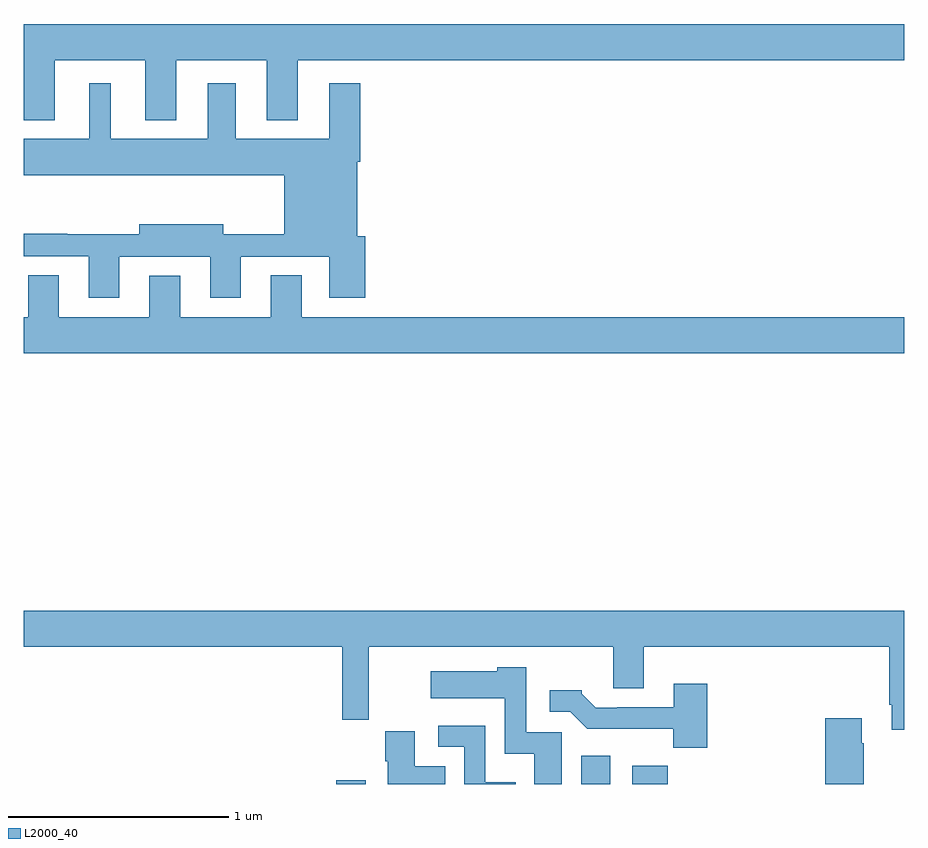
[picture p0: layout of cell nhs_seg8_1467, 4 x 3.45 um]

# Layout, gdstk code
import gdstk
lib = gdstk.Library(unit=1e-6, precision=1e-09)
def R(c, l, rs):  # rectangles x0, y0, x1, y1
    for r in rs: c.add(gdstk.rectangle(r[:2], r[2:], *l))
def P(c, l, *ps):  # polygons
    for p in ps: c.add(gdstk.Polygon(p, *l))
L2000_40 = (2000, 40)

nhs_seg8_1467 = lib.new_cell('nhs_seg8_1467')
R(nhs_seg8_1467, L2000_40, [(206.42,1091.9,206.554,1091.917), (207.533,1091.9,207.664,1092.028), (207.764,1091.9,207.926,1091.983)])
P(nhs_seg8_1467, L2000_40, [(205.141,1095.188),(205.553,1095.188),(205.553,1094.915),(205.693,1094.915),(205.693,1095.188),(206.105,1095.188),(206.105,1094.915),(206.245,1094.915),(206.245,1095.188),(209,1095.188),(209,1095.352),(205,1095.352),(205,1095.188),(205.001,1095.188),(205.001,1094.915),(205.141,1094.915)],
  [(205.435,1094.295),(205.641,1094.295),(205.641,1094.294),(205.847,1094.294),(205.847,1094.109),(205.987,1094.109),(205.987,1094.295),(206.387,1094.295),(206.387,1094.109),(206.552,1094.109),(206.552,1094.388),(206.515,1094.388),(206.515,1094.726),(206.528,1094.726),(206.528,1095.082),(206.387,1095.082),(206.387,1094.83),(205.963,1094.83),(205.963,1095.082),(205.835,1095.082),(205.835,1094.83),(205.396,1094.83),(205.396,1095.082),(205.298,1095.082),(205.298,1094.83),(205,1094.83),(205,1094.666),(206.183,1094.666),(206.183,1094.396),(205.906,1094.396),(205.906,1094.443),(205.526,1094.443),(205.526,1094.396),(205.199,1094.396),(205.199,1094.399),(205,1094.399),(205,1094.298),(205.295,1094.298),(205.295,1094.109),(205.435,1094.109)],
  [(209,1094.02),(206.263,1094.02),(206.263,1094.21),(206.123,1094.21),(206.123,1094.02),(205.711,1094.02),(205.711,1094.209),(205.571,1094.209),(205.571,1094.02),(205.159,1094.02),(205.159,1094.21),(205.02,1094.21),(205.02,1094.02),(205,1094.02),(205,1093.856),(209,1093.856)],
  [(209,1092.688),(205,1092.688),(205,1092.524),(206.446,1092.524),(206.446,1092.192),(206.567,1092.192),(206.567,1092.524),(207.677,1092.524),(207.677,1092.334),(207.817,1092.334),(207.817,1092.524),(208.931,1092.524),(208.931,1092.259),(208.943,1092.259),(208.943,1092.147),(209,1092.147)],
  [(207.445,1092.135),(207.282,1092.135),(207.282,1092.43),(207.15,1092.43),(207.15,1092.412),(206.85,1092.412),(206.85,1092.29),(207.186,1092.29),(207.186,1092.038),(207.32,1092.038),(207.32,1091.9),(207.445,1091.9)],
  [(208.106,1092.355),(207.953,1092.355),(207.953,1092.249),(207.697,1092.249),(207.697,1092.246),(207.598,1092.246),(207.534,1092.31),(207.534,1092.325),(207.39,1092.325),(207.39,1092.228),(207.483,1092.228),(207.559,1092.152),(207.951,1092.152),(207.951,1092.065),(208.106,1092.065)],
  [(208.815,1092.086),(208.807,1092.086),(208.807,1092.199),(208.64,1092.199),(208.64,1091.9),(208.815,1091.9)],
  [(207.235,1091.908),(207.096,1091.908),(207.096,1092.165),(206.883,1092.165),(206.883,1092.069),(207,1092.069),(207,1091.9),(207.235,1091.9)],
  [(206.915,1091.98),(206.776,1091.98),(206.776,1092.139),(206.642,1092.139),(206.642,1092.004),(206.654,1092.004),(206.654,1091.9),(206.915,1091.9)])

lib.write_gds('nhs_seg8_1467.gds')
